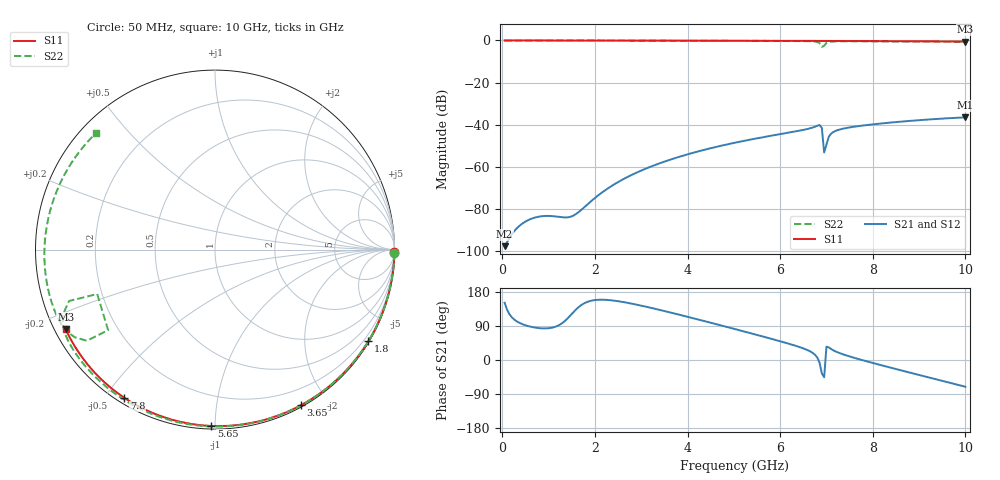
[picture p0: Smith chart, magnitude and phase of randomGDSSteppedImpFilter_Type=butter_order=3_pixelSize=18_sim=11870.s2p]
! freq	dB(S11)	phase(S11)	dB(S12)	phase(S12)
!  dB(S21)	phase(S21)	dB(S22)	phase(S22)
!S-par simulation data
#  GHz  S  DB  R 50
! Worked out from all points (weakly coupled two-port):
!   200 points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, 50 MHz to 10 GHz, reference 50 ohm
!   highest |S21| = -36.51 dB at 10 GHz (marker M1); lowest = -97.7 dB at 50 MHz (marker M2)
!   lowest |S11| = -0.5 dB at 10 GHz (marker M3), VSWR 33.98, Z = 1.56 - j12.5 ohm
!   |S11| at or under -10 dB: nowhere
!   |S22| runs from -3.1 to 0.0 dB; largest |S21 - S12| = 0
!   S11 on the Smith chart (normalised r, x): 50 MHz: open; 1.8 GHz: 0.03, -3.62; 3.65 GHz: 0.02, -1.70; 5.65 GHz: 0.02, -0.98; 7.8 GHz: 0.02, -0.56; 10 GHz: 0.03, -0.25
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0.05  -0.00 -0.9  -97.68 151.2  -97.68 151.2  -0.00 -1.2
0.85  -0.02 -14.7  -83.46 83.5  -83.46 83.5  -0.03 -20.6
1.75  -0.04 -30.0  -79.60 148.3  -79.60 148.3  -0.05 -41.9
1.8  -0.04 -30.9  -78.61 151.5  -78.61 151.5  -0.05 -43.1
2.15  -0.05 -36.7  -72.24 159.1  -72.24 159.1  -0.06 -51.2
2.5  -0.05 -42.5  -67.24 155.2  -67.24 155.2  -0.07 -59.1
3.4  -0.08 -57.1  -58.31 132.2  -58.31 132.2  -0.10 -79.1
3.65  -0.08 -61.0  -56.43 124.8  -56.43 124.8  -0.11 -84.5
5.05  -0.13 -82.4  -48.43 80.8  -48.43 80.8  -0.17 -114.1
5.65  -0.15 -91.2  -45.86 61.3  -45.86 61.3  -0.21 -126.6
6.3  -0.18 -100.6  -43.33 38.8  -43.33 38.8  -0.26 -140.7
6.7  -0.21 -106.2  -41.36 19.0  -41.36 19.0  -0.41 -151.7
6.85  -0.22 -108.3  -40.13 -6.6  -40.13 -6.6  -1.29 -160.6
6.9  -0.22 -109.0  -41.50 -35.4  -41.50 -35.4  -3.08 -159.3
6.95  -0.22 -109.7  -53.18 -45.7  -53.18 -45.7  -2.55 -143.0
7  -0.22 -110.4  -49.40 35.2  -49.40 35.2  -1.15 -144.6
7.05  -0.23 -111.1  -45.73 33.2  -45.73 33.2  -0.71 -148.0
7.15  -0.23 -112.5  -43.45 25.4  -43.45 25.4  -0.47 -152.6
7.8  -0.28 -121.5  -40.36 -1.2  -40.36 -1.2  -0.40 -169.6
8.35  -0.33 -129.0  -39.06 -19.1  -39.06 -19.1  -0.45 177.6
9.2  -0.42 -140.7  -37.53 -45.8  -37.53 -45.8  -0.55 156.9
10  -0.51 -151.9  -36.51 -70.6  -36.51 -70.6  -0.65 135.4
